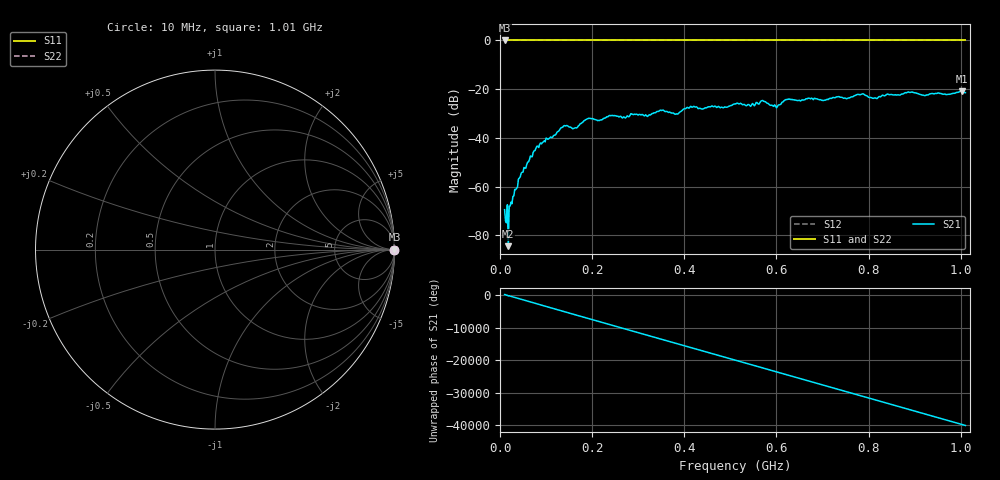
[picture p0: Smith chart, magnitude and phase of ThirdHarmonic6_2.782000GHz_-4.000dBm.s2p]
! 8/17/2025 7:08:23 AM
! C:\ANRITSUVNA\TEMP\TEMP.S2P
! CHANNEL.1
! TR.MEASUREMENT
! RAW.DATA
! RF.CORRECTION.OFF
! AVERAGING.OFF
! IF.BANDWIDTH: 5KHZ
! SWEEPTYPE:  FREQ.SWEEP(Linear)
! Reference Plane Port Info
! PORT:  PORT1  PORT2
! DISTANCE:  0  m  0  m
! TIME:  0  s  0  s
! PHASE.OFFSET:  0  deg.  0  deg.
! LOSS:  0  dB  0  dB
! REF.LOSS:  0  dB  0  dB
! REF.FREQ:  0  Hz  0  Hz
! Power Info
! POWER:  -20  dBm  -20  dBm
! EFF.POWER:  -20  dBm  -20  dBm
! SOURCE.ATTEN:  0  dB  0  dB
! TEST.ATTEN:  0  dB  0  dB
# GHZ S RI R 50.0
! FREQ.GHZ  S11RE  S11IM  S21RE  S21IM  S12RE  S12IM  S22RE  S22IM
!; PortSelection: Port_12
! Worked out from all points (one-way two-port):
!   501 points, 10 MHz to 1.01 GHz, reference 50 ohm
!   highest |S21| = -20.80 dB at 1.002 GHz (marker M1); lowest = -84.4 dB at 18 MHz (marker M2)
!   lowest |S11| = 0.0 dB at 10 MHz (marker M3)
!   |S11| at or under -10 dB: nowhere
!   |S22| runs from 0.0 to 0.0 dB; largest |S21 - S12| = 1.1
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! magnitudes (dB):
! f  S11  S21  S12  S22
! 10 MHz  0.0  -69.5  0.0  0.0
! 12 MHz  0.0  -74.1  0.0  0.0
! 14 MHz  0.0  -74.8  0.0  0.0
! 18 MHz  0.0  -84.4  0.0  0.0
! 22 MHz  0.0  -68.0  0.0  0.0
! 24 MHz  0.0  -66.4  0.0  0.0
! 44 MHz  0.0  -55.9  0.0  0.0
! 78 MHz  0.0  -44.2  0.0  0.0
! 136 MHz  0.0  -35.6  0.0  0.0
! 162 MHz  0.0  -35.9  0.0  0.0
! 178 MHz  0.0  -33.7  0.0  0.0
! 344 MHz  0.0  -29.1  0.0  0.0
! 382 MHz  0.0  -30.2  0.0  0.0
! 416 MHz  0.0  -27.3  0.0  0.0
! 510 MHz  0.0  -26.1  0.0  0.0
! 570 MHz  0.0  -24.6  0.0  0.0
! 598 MHz  0.0  -27.0  0.0  0.0
! 624 MHz  0.0  -24.2  0.0  0.0
! 678 MHz  0.0  -23.9  0.0  0.0
! 844 MHz  0.0  -22.2  0.0  0.0
! 1.002 GHz  0.0  -20.8  0.0  0.0
! 1.01 GHz  0.0  -21.4  0.0  0.0
